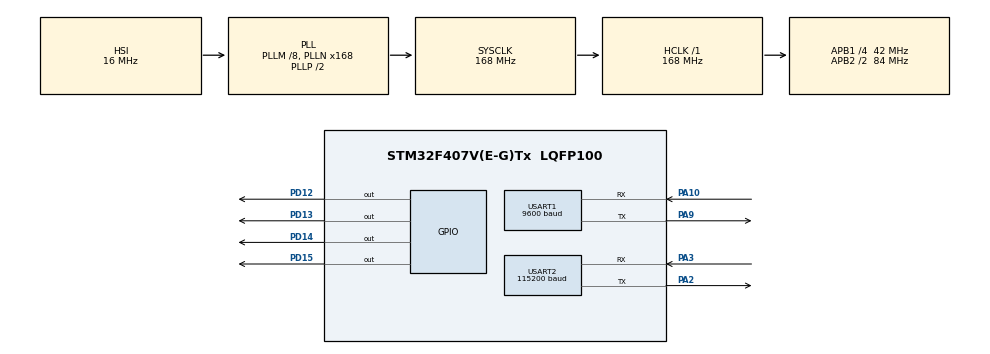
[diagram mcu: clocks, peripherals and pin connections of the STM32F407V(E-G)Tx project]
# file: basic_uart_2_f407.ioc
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Dma.Request0=USART2_RX
Dma.Request1=USART2_TX
Dma.Request2=USART1_RX
Dma.Request3=USART1_TX
Dma.USART1_RX.2.Direction=DMA_PERIPH_TO_MEMORY
Dma.USART1_RX.2.FIFOMode=DMA_FIFOMODE_DISABLE
Dma.USART1_RX.2.Instance=DMA2_Stream2
Dma.USART1_RX.2.MemDataAlignment=DMA_MDATAALIGN_BYTE
Dma.USART1_RX.2.MemInc=DMA_MINC_ENABLE
Dma.USART1_RX.2.Mode=DMA_NORMAL
Dma.USART1_RX.2.PeriphDataAlignment=DMA_PDATAALIGN_BYTE
Dma.USART1_RX.2.PeriphInc=DMA_PINC_DISABLE
Dma.USART1_RX.2.Priority=DMA_PRIORITY_MEDIUM
Dma.USART1_TX.3.Direction=DMA_MEMORY_TO_PERIPH
Dma.USART1_TX.3.FIFOMode=DMA_FIFOMODE_DISABLE
Dma.USART1_TX.3.Instance=DMA2_Stream7
Dma.USART1_TX.3.MemDataAlignment=DMA_MDATAALIGN_BYTE
Dma.USART1_TX.3.MemInc=DMA_MINC_ENABLE
Dma.USART1_TX.3.Mode=DMA_NORMAL
Dma.USART1_TX.3.PeriphDataAlignment=DMA_PDATAALIGN_BYTE
Dma.USART1_TX.3.PeriphInc=DMA_PINC_DISABLE
Dma.USART1_TX.3.Priority=DMA_PRIORITY_MEDIUM
Dma.USART2_RX.0.Direction=DMA_PERIPH_TO_MEMORY
Dma.USART2_RX.0.FIFOMode=DMA_FIFOMODE_DISABLE
Dma.USART2_RX.0.Instance=DMA1_Stream5
Dma.USART2_RX.0.MemDataAlignment=DMA_MDATAALIGN_BYTE
Dma.USART2_RX.0.MemInc=DMA_MINC_ENABLE
Dma.USART2_RX.0.Mode=DMA_NORMAL
Dma.USART2_RX.0.PeriphDataAlignment=DMA_PDATAALIGN_BYTE
Dma.USART2_RX.0.PeriphInc=DMA_PINC_DISABLE
Dma.USART2_RX.0.Priority=DMA_PRIORITY_MEDIUM
Dma.USART2_TX.1.Direction=DMA_MEMORY_TO_PERIPH
Dma.USART2_TX.1.FIFOMode=DMA_FIFOMODE_DISABLE
Dma.USART2_TX.1.Instance=DMA1_Stream6
Dma.USART2_TX.1.MemDataAlignment=DMA_MDATAALIGN_BYTE
Dma.USART2_TX.1.MemInc=DMA_MINC_ENABLE
Dma.USART2_TX.1.Mode=DMA_NORMAL
Dma.USART2_TX.1.PeriphDataAlignment=DMA_PDATAALIGN_BYTE
Dma.USART2_TX.1.PeriphInc=DMA_PINC_DISABLE
Dma.USART2_TX.1.Priority=DMA_PRIORITY_MEDIUM
Mcu.Family=STM32F4
Mcu.Name=STM32F407V(E-G)Tx
Mcu.Package=LQFP100
NVIC.DMA1_Stream5_IRQn=true\:0\:0\:false\:false\:true\:false\:true\:true
NVIC.DMA1_Stream6_IRQn=true\:0\:0\:false\:false\:true\:false\:true\:true
NVIC.DMA2_Stream2_IRQn=true\:0\:0\:false\:false\:true\:false\:true\:true
NVIC.DMA2_Stream7_IRQn=true\:0\:0\:false\:false\:true\:false\:true\:true
NVIC.PriorityGroup=NVIC_PRIORITYGROUP_4
NVIC.RCC_IRQn=true\:0\:0\:false\:false\:true\:true\:false\:true
NVIC.USART2_IRQn=true\:0\:0\:false\:false\:true\:true\:true\:true
PA10.Mode=Asynchronous
PA10.Signal=USART1_RX
PA13.Mode=Serial_Wire
PA13.Signal=SYS_JTMS-SWDIO
PA14.Mode=Serial_Wire
PA14.Signal=SYS_JTCK-SWCLK
PA2.Mode=Asynchronous
PA2.Signal=USART2_TX
PA3.Mode=Asynchronous
PA3.Signal=USART2_RX
PA9.Mode=Asynchronous
PA9.Signal=USART1_TX
PD12.Signal=GPIO_Output
PD13.Signal=GPIO_Output
PD14.Signal=GPIO_Output
PD15.Signal=GPIO_Output
PH0-OSC_IN.Mode=HSE-External-Oscillator
PH0-OSC_IN.Signal=RCC_OSC_IN
PH1-OSC_OUT.Mode=HSE-External-Oscillator
PH1-OSC_OUT.Signal=RCC_OSC_OUT
ProjectManager.HeapSize=0x200
ProjectManager.StackSize=0x400
ProjectManager.TargetToolchain=STM32CubeIDE
RCC.48MHZClocksFreq_Value=84000000
RCC.AHBFreq_Value=168000000
RCC.APB1CLKDivider=RCC_HCLK_DIV4
RCC.APB1Freq_Value=42000000
RCC.APB1TimFreq_Value=84000000
RCC.APB2CLKDivider=RCC_HCLK_DIV2
RCC.APB2Freq_Value=84000000
RCC.APB2TimFreq_Value=168000000
RCC.CortexFreq_Value=168000000
RCC.HCLKFreq_Value=168000000
RCC.HSE_VALUE=25000000
RCC.HSI_VALUE=16000000
RCC.LSE_VALUE=32768
RCC.PLLM=8
RCC.PLLN=168
RCC.SYSCLKFreq_VALUE=168000000
RCC.SYSCLKSource=RCC_SYSCLKSOURCE_PLLCLK
RCC.VCOOutputFreq_Value=336000000
USART1.BaudRate=9600
USART1.VirtualMode=VM_ASYNC
USART2.BaudRate=115200
USART2.VirtualMode=VM_ASYNC
board=custom

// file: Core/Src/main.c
/* USER CODE BEGIN Header */
/**
  ******************************************************************************
  * @file           : main.c
  * @brief          : Main program body
  ******************************************************************************
  * @attention
  *
  * <h2><center>&copy; Copyright (c) 2023 STMicroelectronics.
  * All rights reserved.</center></h2>
  *
  * This software component is licensed by ST under BSD 3-Clause license,
  * the "License"; You may not use this file except in compliance with the
  * License. You may obtain a copy of the License at:
  *                        opensource.org/licenses/BSD-3-Clause
  *
  ******************************************************************************
  */
/* USER CODE END Header */
#include "main.h"

/* USER CODE BEGIN Includes */
#include "stdbool.h"
#include <stdio.h>
#include <stdlib.h>
#include <stdbool.h>
/*
 * Normal Interrupt ile Idle interrupt arası fark,
 * Normal olanı ilgili boyuttaki verinin üzerine ekleyerek ilerler.
 * Idle olanı ise her gelen veri 0.indisten başlayarak ilerleyerek gider. Ama hala
 * ilerideki baytlarda eski veriler kalabilir
 *
 */

/* USER CODE END Includes */

UART_HandleTypeDef huart1;
UART_HandleTypeDef huart2;
DMA_HandleTypeDef hdma_usart1_rx;
DMA_HandleTypeDef hdma_usart1_tx;
DMA_HandleTypeDef hdma_usart2_rx;
DMA_HandleTypeDef hdma_usart2_tx;

/* USER CODE BEGIN PV */
uint8_t global_rx_buffer[64] = {};
uint8_t global_tx_buffer[64] = {};
uint8_t global_rxData;

uint8_t counter;

uint8_t receiver_checksum;
uint16_t distance;
bool flag = false;

char text[10];
char text_new[10];

/* USER CODE END PV */

void SystemClock_Config(void);
static void MX_GPIO_Init(void);
static void MX_DMA_Init(void);
static void MX_USART2_UART_Init(void);
static void MX_USART1_UART_Init(void);

/* USER CODE BEGIN 0 */
void HAL_UARTEx_RxEventCallback(UART_HandleTypeDef *huart, uint16_t Size)
{
	if(huart->Instance == USART1)
	{
		global_rx_buffer[counter++] = global_rxData;
		if(counter >= 64)
		{
			counter = 0;
		}
		flag = true;
		HAL_UARTEx_ReceiveToIdle_DMA(&huart1, &global_rxData, 1);
		__HAL_DMA_DISABLE_IT(&hdma_usart1_rx, DMA_IT_HT);
//		for(int i=Size; i<=64; i++)
//		{
//			global_rx_buffer[i] = 0;
//		}
	}
}
/*
 * Veriler byte türünden ifade edilir. Veriler geldilkçe üzerinde değişiklik yapılıyor
 */

/* USER CODE END 0 */

int main(void)
{

  /* MCU Configuration--------------------------------------------------------*/

  /* Reset of all peripherals, Initializes the Flash interface and the Systick. */
  HAL_Init();

  /* Configure the system clock */
  SystemClock_Config();

  /* Initialize all configured peripherals */
  MX_GPIO_Init();
  MX_DMA_Init();
  MX_USART2_UART_Init();
  MX_USART1_UART_Init();
  /* USER CODE BEGIN 2 */

  HAL_UARTEx_ReceiveToIdle_DMA(&huart1, &global_rxData, 1);
  __HAL_DMA_DISABLE_IT(&hdma_usart1_rx, DMA_IT_HT);       // transferin yarısındayken kesmeye girmemesini sağlayan fonksiyon.

  /* USER CODE END 2 */

  /* Infinite loop */
  while (1)
  {

    /* USER CODE BEGIN 3 */
	  if(flag)
	  {
		  if(counter >= 4)
		  {
			  receiver_checksum = (global_rx_buffer[0] + global_rx_buffer[1] + global_rx_buffer[2]) & 0x00FF;
			  if(receiver_checksum == global_rx_buffer[3])
			  {
				  distance = ((uint16_t)(global_rx_buffer[2] << 0) | (uint16_t)(global_rx_buffer[1] << 8));
				  HAL_UART_Transmit(&huart2, (uint8_t*)text_new, sprintf(text_new, "%d mm\n", distance), 100);
				  HAL_GPIO_TogglePin(GPIOD, GPIO_PIN_All);
			  }
			  counter = 0;
		  }
		  flag = false;
	  }
  }
  /* USER CODE END 3 */
}

void SystemClock_Config(void)
{
  RCC_OscInitTypeDef RCC_OscInitStruct = {0};
  RCC_ClkInitTypeDef RCC_ClkInitStruct = {0};

  /** Configure the main internal regulator output voltage
  */
  __HAL_RCC_PWR_CLK_ENABLE();
  __HAL_PWR_VOLTAGESCALING_CONFIG(PWR_REGULATOR_VOLTAGE_SCALE1);

  /** Initializes the RCC Oscillators according to the specified parameters
  * in the RCC_OscInitTypeDef structure.
  */
  RCC_OscInitStruct.OscillatorType = RCC_OSCILLATORTYPE_HSI;
  RCC_OscInitStruct.HSIState = RCC_HSI_ON;
  RCC_OscInitStruct.HSICalibrationValue = RCC_HSICALIBRATION_DEFAULT;
  RCC_OscInitStruct.PLL.PLLState = RCC_PLL_ON;
  RCC_OscInitStruct.PLL.PLLSource = RCC_PLLSOURCE_HSI;
  RCC_OscInitStruct.PLL.PLLM = 8;
  RCC_OscInitStruct.PLL.PLLN = 168;
  RCC_OscInitStruct.PLL.PLLP = RCC_PLLP_DIV2;
  RCC_OscInitStruct.PLL.PLLQ = 4;
  if (HAL_RCC_OscConfig(&RCC_OscInitStruct) != HAL_OK)
  {
    Error_Handler();
  }

  /** Initializes the CPU, AHB and APB buses clocks
  */
  RCC_ClkInitStruct.ClockType = RCC_CLOCKTYPE_HCLK|RCC_CLOCKTYPE_SYSCLK
                              |RCC_CLOCKTYPE_PCLK1|RCC_CLOCKTYPE_PCLK2;
  RCC_ClkInitStruct.SYSCLKSource = RCC_SYSCLKSOURCE_PLLCLK;
  RCC_ClkInitStruct.AHBCLKDivider = RCC_SYSCLK_DIV1;
  RCC_ClkInitStruct.APB1CLKDivider = RCC_HCLK_DIV4;
  RCC_ClkInitStruct.APB2CLKDivider = RCC_HCLK_DIV2;

  if (HAL_RCC_ClockConfig(&RCC_ClkInitStruct, FLASH_LATENCY_5) != HAL_OK)
  {
    Error_Handler();
  }
}

static void MX_USART1_UART_Init(void)
{

  huart1.Instance = USART1;
  huart1.Init.BaudRate = 9600;
  huart1.Init.WordLength = UART_WORDLENGTH_8B;
  huart1.Init.StopBits = UART_STOPBITS_1;
  huart1.Init.Parity = UART_PARITY_NONE;
  huart1.Init.Mode = UART_MODE_TX_RX;
  huart1.Init.HwFlowCtl = UART_HWCONTROL_NONE;
  huart1.Init.OverSampling = UART_OVERSAMPLING_16;
  if (HAL_UART_Init(&huart1) != HAL_OK)
  {
    Error_Handler();
  }

}

static void MX_USART2_UART_Init(void)
{

  huart2.Instance = USART2;
  huart2.Init.BaudRate = 115200;
  huart2.Init.WordLength = UART_WORDLENGTH_8B;
  huart2.Init.StopBits = UART_STOPBITS_1;
  huart2.Init.Parity = UART_PARITY_NONE;
  huart2.Init.Mode = UART_MODE_TX_RX;
  huart2.Init.HwFlowCtl = UART_HWCONTROL_NONE;
  huart2.Init.OverSampling = UART_OVERSAMPLING_16;
  if (HAL_UART_Init(&huart2) != HAL_OK)
  {
    Error_Handler();
  }

}

static void MX_DMA_Init(void)
{

  /* DMA controller clock enable */
  __HAL_RCC_DMA1_CLK_ENABLE();
  __HAL_RCC_DMA2_CLK_ENABLE();

  /* DMA interrupt init */
  /* DMA1_Stream5_IRQn interrupt configuration */
  HAL_NVIC_SetPriority(DMA1_Stream5_IRQn, 0, 0);
  HAL_NVIC_EnableIRQ(DMA1_Stream5_IRQn);
  /* DMA1_Stream6_IRQn interrupt configuration */
  HAL_NVIC_SetPriority(DMA1_Stream6_IRQn, 0, 0);
  HAL_NVIC_EnableIRQ(DMA1_Stream6_IRQn);
  /* DMA2_Stream2_IRQn interrupt configuration */
  HAL_NVIC_SetPriority(DMA2_Stream2_IRQn, 0, 0);
  HAL_NVIC_EnableIRQ(DMA2_Stream2_IRQn);
  /* DMA2_Stream7_IRQn interrupt configuration */
  HAL_NVIC_SetPriority(DMA2_Stream7_IRQn, 0, 0);
  HAL_NVIC_EnableIRQ(DMA2_Stream7_IRQn);

}

static void MX_GPIO_Init(void)
{
  GPIO_InitTypeDef GPIO_InitStruct = {0};

  /* GPIO Ports Clock Enable */
  __HAL_RCC_GPIOH_CLK_ENABLE();
  __HAL_RCC_GPIOA_CLK_ENABLE();
  __HAL_RCC_GPIOD_CLK_ENABLE();

  /*Configure GPIO pin Output Level */
  HAL_GPIO_WritePin(GPIOD, GPIO_PIN_12|GPIO_PIN_13|GPIO_PIN_14|GPIO_PIN_15, GPIO_PIN_RESET);

  /*Configure GPIO pins : PD12 PD13 PD14 PD15 */
  GPIO_InitStruct.Pin = GPIO_PIN_12|GPIO_PIN_13|GPIO_PIN_14|GPIO_PIN_15;
  GPIO_InitStruct.Mode = GPIO_MODE_OUTPUT_PP;
  GPIO_InitStruct.Pull = GPIO_NOPULL;
  GPIO_InitStruct.Speed = GPIO_SPEED_FREQ_LOW;
  HAL_GPIO_Init(GPIOD, &GPIO_InitStruct);

}

void Error_Handler(void)
{
  __disable_irq();
  while (1)
  {
  }
}
